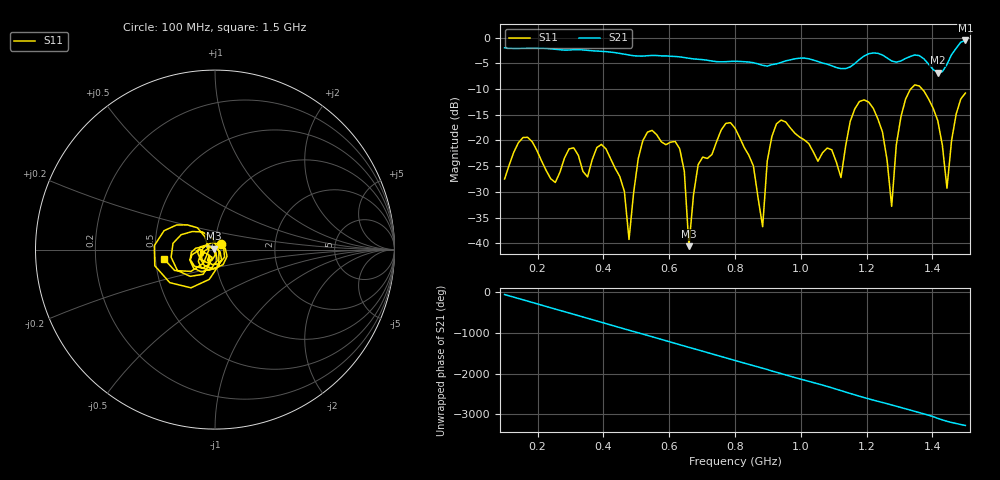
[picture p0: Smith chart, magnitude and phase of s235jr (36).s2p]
! NanoVNA-App
! Date: 2025-09-25 15:04:26
! Start: 100MHz Stop: 1,5GHz Points: 101
! S-Parameter data: F S11 S21 S12 S22
# Hz S RI R 50
!  Frequency  S11_Real  S11_Imag  S21_Real  S21_Imag  S12_Real  S12_Imag  S22_Real  S22_Imag
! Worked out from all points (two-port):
!   101 points, 100 MHz to 1.5 GHz, reference 50 ohm
!   highest |S21| = -0.54 dB at 1.5 GHz (marker M1); lowest = -6.8 dB at 1.416 GHz (marker M2)
!   |S21| within 3 dB of the highest: start of sweep to 498.6 MHz; 527.8 MHz to 591.2 MHz (63.38 MHz wide, 11.3 % of centre) (the widest 2 of 5)
!   lowest |S11| = -40.6 dB at 660 MHz (marker M3), VSWR 1.02, Z = 49.2 + j0.552 ohm
!   |S11| at or under -10 dB: start of sweep to 1.334 GHz; 1.369 GHz to end of sweep
!   S12 and S22 are empty: the file has one direction only
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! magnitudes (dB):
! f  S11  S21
! 100 MHz  -27.5  -2.0
! 156 MHz  -19.4  -2.0
! 338 MHz  -26.0  -2.4
! 408 MHz  -21.6  -2.7
! 478 MHz  -39.2  -3.4
! 520 MHz  -20.0  -3.6
! 576 MHz  -20.2  -3.5
! 632 MHz  -21.6  -3.7
! 660 MHz  -40.6  -4.0
! 688 MHz  -24.7  -4.2
! 800 MHz  -17.6  -4.6
! 884 MHz  -36.8  -5.4
! 926 MHz  -16.8  -5.1
! 1.038 GHz  -22.2  -4.4
! 1.122 GHz  -27.2  -6.0
! 1.206 GHz  -12.5  -3.1
! 1.248 GHz  -18.3  -3.4
! 1.276 GHz  -32.8  -4.5
! 1.332 GHz  -10.1  -3.7
! 1.416 GHz  -16.1  -6.8
! 1.444 GHz  -29.3  -5.2
! 1.5 GHz  -10.8  -0.5
